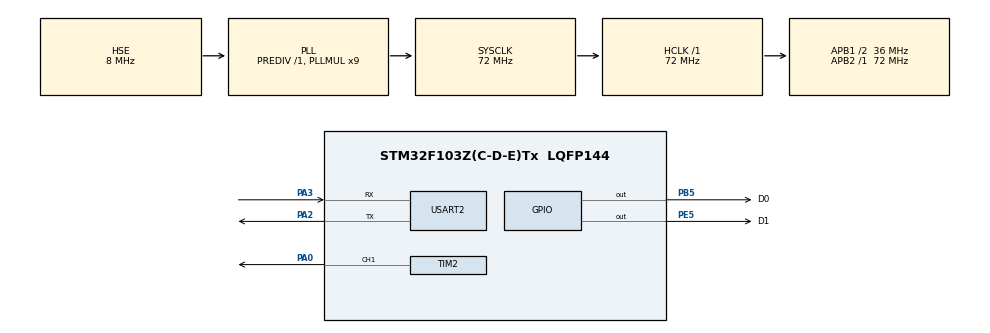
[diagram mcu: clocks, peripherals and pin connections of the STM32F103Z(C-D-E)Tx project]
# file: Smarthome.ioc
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Mcu.Family=STM32F1
Mcu.Name=STM32F103Z(C-D-E)Tx
Mcu.Package=LQFP144
NVIC.PriorityGroup=NVIC_PRIORITYGROUP_4
NVIC.USART2_IRQn=true\:0\:0\:false\:false\:true\:true\:true
OSC_IN.Mode=HSE-External-Oscillator
OSC_IN.Signal=RCC_OSC_IN
OSC_OUT.Mode=HSE-External-Oscillator
OSC_OUT.Signal=RCC_OSC_OUT
PA0-WKUP.Signal=S_TIM2_CH1_ETR
PA13.Mode=Serial_Wire
PA13.Signal=SYS_JTMS-SWDIO
PA14.Mode=Serial_Wire
PA14.Signal=SYS_JTCK-SWCLK
PA2.Mode=Asynchronous
PA2.Signal=USART2_TX
PA3.Mode=Asynchronous
PA3.Signal=USART2_RX
PB5.GPIO_Label=D0
PB5.GPIO_PuPd=GPIO_NOPULL
PB5.GPIO_Speed=GPIO_SPEED_FREQ_LOW
PB5.Signal=GPIO_Output
PE5.GPIO_Label=D1
PE5.GPIO_PuPd=GPIO_NOPULL
PE5.GPIO_Speed=GPIO_SPEED_FREQ_LOW
PE5.Signal=GPIO_Output
ProjectManager.HeapSize=0x200
ProjectManager.StackSize=0x400
ProjectManager.TargetToolchain=MDK-ARM V5.32
RCC.AHBFreq_Value=72000000
RCC.APB1CLKDivider=RCC_HCLK_DIV2
RCC.APB1Freq_Value=36000000
RCC.APB1TimFreq_Value=72000000
RCC.APB2Freq_Value=72000000
RCC.APB2TimFreq_Value=72000000
RCC.HCLKFreq_Value=72000000
RCC.PLLMUL=RCC_PLL_MUL9
RCC.PLLSourceVirtual=RCC_PLLSOURCE_HSE
RCC.SYSCLKFreq_VALUE=72000000
RCC.SYSCLKSource=RCC_SYSCLKSOURCE_PLLCLK
RCC.USBFreq_Value=72000000
SH.S_TIM2_CH1_ETR.0=TIM2_CH1,PWM Generation1 CH1
TIM2.AutoReloadPreload=TIM_AUTORELOAD_PRELOAD_ENABLE
TIM2.Channel-PWM\ Generation1\ CH1=TIM_CHANNEL_1
TIM2.Period=1999
TIM2.Prescaler=719
USART2.VirtualMode=VM_ASYNC
board=custom

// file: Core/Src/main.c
/* USER CODE BEGIN Header */
/**
  ******************************************************************************
  * @file           : main.c
  * @brief          : Main program body
  ******************************************************************************
  * @attention
  *
  * <h2><center>&copy; Copyright (c) 2022 STMicroelectronics.
  * All rights reserved.</center></h2>
  *
  * This software component is licensed by ST under BSD 3-Clause license,
  * the "License"; You may not use this file except in compliance with the
  * License. You may obtain a copy of the License at:
  *                        opensource.org/licenses/BSD-3-Clause
  *
  ******************************************************************************
  */
/* USER CODE END Header */
#include "main.h"
#include "tim.h"
#include "usart.h"
#include "gpio.h"

/* USER CODE BEGIN Includes */
#include "stdio.h"
#include "string.h"
/* USER CODE END Includes */

/* USER CODE BEGIN PTD */
uint8_t RxBuffer1; //接收中断缓冲
/* USER CODE END PTD */

void SystemClock_Config(void);
/* USER CODE BEGIN PFP */
extern uint8_t FindStr(char* dest,char* src,uint16_t retry_nms);
/* USER CODE END PFP */

int main(void)
{
  /* USER CODE BEGIN 1 */
  uint8_t len;
  /* USER CODE END 1 */

  /* MCU Configuration--------------------------------------------------------*/

  /* Reset of all peripherals, Initializes the Flash interface and the Systick. */
  HAL_Init();

  /* Configure the system clock */
  SystemClock_Config();

  /* Initialize all configured peripherals */
  MX_GPIO_Init();
  MX_TIM2_Init();
  MX_USART2_UART_Init();
  /* USER CODE BEGIN 2 */
	HAL_UART_Receive_IT(&huart2, (uint8_t *)&RxBuffer1, 1);   //再开启接收中断（重要）
  HAL_TIM_PWM_Start(&htim2,TIM_CHANNEL_1);//***定时器初始化

	HAL_GPIO_WritePin(D1_GPIO_Port, D1_Pin, GPIO_PIN_RESET);
	__HAL_TIM_SET_COMPARE(&htim2,TIM_CHANNEL_1,100); //相当于一个周期内（20ms）有0.5ms高脉冲

  //printf("ok\r\n");//插入换行
  /* USER CODE END 2 */

  /* Infinite loop */
  while (1)
  {

    /* USER CODE BEGIN 3 */

    if(USART_RX_STA&0x8000)
		{
			len=USART_RX_STA&0x3fff;//得到此次接收到的数据长度
			//HAL_UART_Transmit(&huart1,(uint8_t*)USART_RX_BUF,len,1000);	//发送接收到的数据
			if(strstr((char*)USART_RX_BUF,"0")!=NULL)     //关灯
			{
			  HAL_GPIO_WritePin(D1_GPIO_Port, D1_Pin, GPIO_PIN_RESET);
				//printf("0\r\n");
			}
			else if(strstr((char*)USART_RX_BUF,"1")!=NULL)    //开灯
			{
			  HAL_GPIO_WritePin(D1_GPIO_Port, D1_Pin, GPIO_PIN_SET);
				//printf("1\r\n");
			}
			 else if(strstr((char*)USART_RX_BUF,"2")!=NULL)   //开窗帘
			{
			  __HAL_TIM_SET_COMPARE(&htim2,TIM_CHANNEL_1,50); //相当于一个周期内（20ms）有0.5ms高脉冲
				//printf("2\r\n");
			}
			else if(strstr((char*)USART_RX_BUF,"3")!=NULL)    //关窗帘
			{
			  __HAL_TIM_SET_COMPARE(&htim2,TIM_CHANNEL_1,100); //相当于一个周期内（20ms）有0.5ms高脉冲
				//printf("3\r\n");
			}
			while(__HAL_UART_GET_FLAG(&huart2,UART_FLAG_TC)!=SET);		//等待发送结束
			USART_RX_STA=0;
		}
//		HAL_GPIO_WritePin(D1_GPIO_Port, D1_Pin, GPIO_PIN_RESET);
//		HAL_Delay(5000);
//		HAL_GPIO_WritePin(D1_GPIO_Port, D1_Pin, GPIO_PIN_SET);
//		HAL_Delay(5000);
//		  int i=1000; //循环时间间隔1s
//
//      __HAL_TIM_SET_COMPARE(&htim2,TIM_CHANNEL_1,50); //相当于一个周期内（20ms）有0.5ms高脉冲
//      HAL_Delay(i);
//      __HAL_TIM_SET_COMPARE(&htim2,TIM_CHANNEL_1,250); //相当于一个周期内（20ms）有2.5ms高脉冲
//      HAL_Delay(i);
  }
  /* USER CODE END 3 */
}

void SystemClock_Config(void)
{
  RCC_OscInitTypeDef RCC_OscInitStruct = {0};
  RCC_ClkInitTypeDef RCC_ClkInitStruct = {0};

  /** Initializes the RCC Oscillators according to the specified parameters
  * in the RCC_OscInitTypeDef structure.
  */
  RCC_OscInitStruct.OscillatorType = RCC_OSCILLATORTYPE_HSE;
  RCC_OscInitStruct.HSEState = RCC_HSE_ON;
  RCC_OscInitStruct.HSEPredivValue = RCC_HSE_PREDIV_DIV1;
  RCC_OscInitStruct.HSIState = RCC_HSI_ON;
  RCC_OscInitStruct.PLL.PLLState = RCC_PLL_ON;
  RCC_OscInitStruct.PLL.PLLSource = RCC_PLLSOURCE_HSE;
  RCC_OscInitStruct.PLL.PLLMUL = RCC_PLL_MUL9;
  if (HAL_RCC_OscConfig(&RCC_OscInitStruct) != HAL_OK)
  {
    Error_Handler();
  }
  /** Initializes the CPU, AHB and APB buses clocks
  */
  RCC_ClkInitStruct.ClockType = RCC_CLOCKTYPE_HCLK|RCC_CLOCKTYPE_SYSCLK
                              |RCC_CLOCKTYPE_PCLK1|RCC_CLOCKTYPE_PCLK2;
  RCC_ClkInitStruct.SYSCLKSource = RCC_SYSCLKSOURCE_PLLCLK;
  RCC_ClkInitStruct.AHBCLKDivider = RCC_SYSCLK_DIV1;
  RCC_ClkInitStruct.APB1CLKDivider = RCC_HCLK_DIV2;
  RCC_ClkInitStruct.APB2CLKDivider = RCC_HCLK_DIV1;

  if (HAL_RCC_ClockConfig(&RCC_ClkInitStruct, FLASH_LATENCY_2) != HAL_OK)
  {
    Error_Handler();
  }
}

void Error_Handler(void)
{
  __disable_irq();
  while (1)
  {
  }
}

/************************ (C) COPYRIGHT STMicroelectronics *****END OF FILE****/
